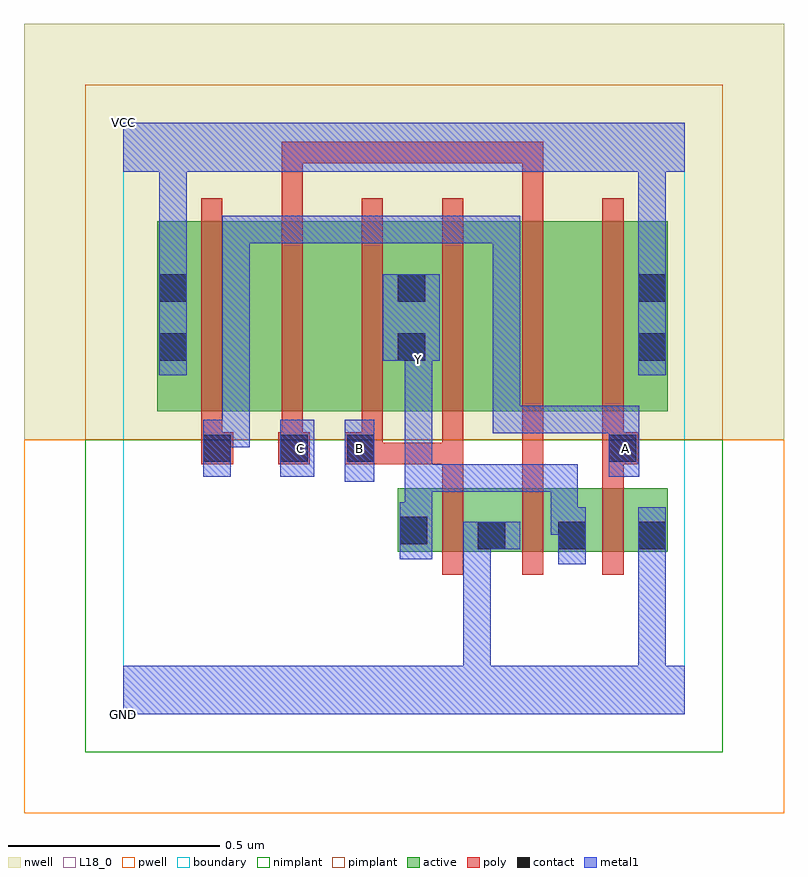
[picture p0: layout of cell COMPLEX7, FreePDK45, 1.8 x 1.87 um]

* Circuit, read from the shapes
.subckt COMPLEX7 A B C GND VCC Y
M1 GND B Y VSUBS nfet w=0.15u l=0.05u
M2 Y C GND VSUBS nfet w=0.15u l=0.05u
M3 GND A Y VSUBS nfet w=0.15u l=0.05u
M4 n1 A VCC n2 pfet w=0.45u l=0.05u
M5 n3 C n1 n2 pfet w=0.45u l=0.05u
M6 Y B n3 n2 pfet w=0.45u l=0.05u
M7 n4 B Y n2 pfet w=0.45u l=0.05u
M8 n5 C n4 n2 pfet w=0.45u l=0.05u
M9 VCC A n5 n2 pfet w=0.45u l=0.05u
.ends

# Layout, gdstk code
import gdstk
lib = gdstk.Library(unit=1e-6, precision=1e-09)
def R(c, l, rs):  # rectangles x0, y0, x1, y1
    for r in rs: c.add(gdstk.rectangle(r[:2], r[2:], *l))
def A(c, l, x, y, w, h, nx, ny, dx, dy):  # array of equal rectangles
    R(c, l, [(x+i*dx, y+j*dy, x+i*dx+w, y+j*dy+h) for i in range(nx) for j in range(ny)])
active = (1, 0)
pwell = (2, 0)
nwell = (3, 0)
nimplant = (4, 0)
pimplant = (5, 0)
poly = (9, 0)
contact = (10, 0)
metal1 = (11, 0)
L18_0 = (18, 0)
boundary = (235, 0)

complex7 = lib.new_cell('COMPLEX7')
R(complex7, active, [(0.65,0.385,0.91,0.535), (0.835,0.385,1.1,0.535), (0.835,0.385,0.91,0.46), (1.025,0.385,1.29,0.535), (1.025,0.385,1.1,0.46), (1.215,0.385,1.29,0.535), (0.65,0.397,0.725,0.535), (0.08,0.717,0.155,1.155), (0.08,0.717,0.305,1.167), (0.305,0.717,0.495,1.167), (0.495,0.717,0.72,1.167), (0.645,0.717,0.875,1.167), (0.875,0.717,1.065,1.167), (1.065,0.717,1.29,1.167), (1.215,0.717,1.29,1.155), (0.645,0.732,0.72,1.07)])
R(complex7, pwell, [(-0.235,-0.235,1.565,0.65)])
R(complex7, nwell, [(-0.235,0.65,1.565,1.635)])
R(complex7, nimplant, [(-0.09,-0.09,1.42,0.65)])
R(complex7, pimplant, [(-0.09,0.65,1.42,1.49)])
A(complex7, poly, 0.755, 0.33, 0.05, 0.26, 3, 1, 0.19, 0)
A(complex7, poly, 0.185, 0.617, 0.05, 0.095, 3, 1, 0.19, 0)
A(complex7, poly, 0.185, 0.662, 0.05, 0.56, 6, 1, 0.19, 0)
R(complex7, poly, [(0.755,0.54,0.805,0.642), (0.945,0.54,0.995,0.667), (1.135,0.54,1.185,0.642), (0.185,0.592,0.26,0.667), (0.367,0.592,0.442,0.667), (0.525,0.592,0.615,0.667), (0.565,0.592,0.615,0.642), (0.565,0.592,0.615,0.642), (0.565,0.592,0.805,0.642), (0.755,0.592,0.805,0.642), (0.755,0.592,0.805,0.712), (1.135,0.592,1.22,0.667), (0.945,0.617,0.995,0.712), (0.945,0.617,0.995,0.667), (1.135,0.617,1.185,0.712), (0.375,1.172,0.425,1.355), (0.945,1.172,0.995,1.355), (0.375,1.305,0.425,1.355), (0.375,1.305,0.425,1.355), (0.375,1.305,0.425,1.355), (0.375,1.305,0.615,1.355), (0.565,1.305,0.615,1.355), (0.565,1.305,0.615,1.355), (0.565,1.305,0.615,1.355), (0.565,1.305,0.747,1.355), (0.697,1.305,0.747,1.355), (0.697,1.305,0.995,1.355), (0.945,1.305,0.995,1.355), (0.945,1.305,0.995,1.355), (0.945,1.305,0.995,1.355)])
A(complex7, contact, 0.84, 0.39, 0.065, 0.065, 3, 1, 0.19, 0)
R(complex7, contact, [(0.655,0.402,0.72,0.467), (0.19,0.597,0.255,0.662), (0.372,0.597,0.437,0.662), (0.53,0.597,0.595,0.662), (1.15,0.597,1.215,0.662), (0.085,0.837,0.15,0.902), (0.65,0.837,0.715,0.902), (1.22,0.837,1.285,0.902), (0.085,0.977,0.15,1.042), (0.65,0.977,0.715,1.042), (1.22,0.977,1.285,1.042)])
R(complex7, metal1, [(0,0,1.33,0.115), (0.805,0.05,0.87,0.455), (1.22,0.05,1.285,0.115), (1.22,0.05,1.285,0.115), (1.22,0.05,1.285,0.115), (1.22,0.05,1.285,0.115), (1.22,0.05,1.285,0.42), (1.03,0.355,1.095,0.49), (1.22,0.355,1.285,0.49), (0.655,0.367,0.732,0.502), (0.805,0.39,0.87,0.455), (0.805,0.39,0.87,0.455), (0.805,0.39,0.87,0.455), (0.805,0.39,0.87,0.455), (0.805,0.39,0.94,0.455), (1.012,0.425,1.095,0.49), (1.012,0.425,1.077,0.592), (0.667,0.437,0.732,0.502), (0.667,0.437,0.732,0.592), (0.667,0.437,0.732,0.837), (0.667,0.527,0.87,0.592), (0.805,0.527,0.87,0.592), (0.805,0.527,1.077,0.592), (0.525,0.55,0.595,0.697), (0.19,0.562,0.255,0.697), (0.372,0.562,0.452,0.697), (1.15,0.562,1.222,0.73), (0.19,0.632,0.3,0.697), (0.235,0.632,0.3,0.697), (0.235,0.632,0.3,1.18), (0.875,0.665,0.94,0.73), (0.875,0.665,1.077,0.73), (0.875,0.665,0.94,1.18), (1.012,0.665,1.077,0.73), (1.012,0.665,1.077,0.73), (1.012,0.665,1.077,0.73), (1.012,0.665,1.215,0.73), (0.667,0.772,0.732,0.907), (0.085,0.802,0.15,1.077), (1.22,0.802,1.285,1.077), (0.615,0.837,0.75,1.042), (0.667,0.842,0.732,0.907), (0.085,1.012,0.15,1.35), (0.085,1.012,0.15,1.077), (0.085,1.012,0.15,1.077), (1.22,1.012,1.285,1.35), (0.235,1.115,0.3,1.18), (0.235,1.115,0.405,1.18), (0.34,1.115,0.405,1.18), (0.34,1.115,0.542,1.18), (0.477,1.115,0.542,1.18), (0.477,1.115,0.542,1.18), (0.477,1.115,0.542,1.18), (0.477,1.115,0.542,1.18), (0.477,1.115,0.542,1.18), (0.477,1.115,0.68,1.18), (0.615,1.115,0.68,1.18), (0.615,1.115,0.94,1.18), (0.875,1.115,0.94,1.18), (0.875,1.115,0.94,1.18), (0.875,1.115,0.94,1.18), (0.875,1.115,0.94,1.18), (0.875,1.115,0.94,1.18), (0,1.285,1.33,1.4), (1.22,1.285,1.285,1.35), (1.22,1.285,1.285,1.35)])
R(complex7, L18_0, [(0,0,1.33,0.115), (0.805,0.05,0.87,0.455), (1.22,0.05,1.285,0.115), (1.22,0.05,1.285,0.115), (1.22,0.05,1.285,0.115), (1.22,0.05,1.285,0.115), (1.22,0.05,1.285,0.42), (1.03,0.355,1.095,0.49), (1.22,0.355,1.285,0.49), (0.655,0.367,0.732,0.502), (0.805,0.39,0.87,0.455), (0.805,0.39,0.87,0.455), (0.805,0.39,0.87,0.455), (0.805,0.39,0.87,0.455), (0.805,0.39,0.94,0.455), (1.012,0.425,1.077,0.592), (1.012,0.425,1.095,0.49), (0.667,0.437,0.732,0.502), (0.667,0.437,0.732,0.837), (0.667,0.437,0.732,0.592), (0.667,0.527,0.87,0.592), (0.805,0.527,0.87,0.592), (0.805,0.527,1.077,0.592), (0.525,0.55,0.595,0.697), (0.19,0.562,0.255,0.697), (0.372,0.562,0.452,0.697), (1.15,0.562,1.222,0.73), (0.387,0.597,0.452,0.662), (0.527,0.597,0.592,0.662), (1.157,0.597,1.222,0.662), (0.19,0.632,0.3,0.697), (0.235,0.632,0.3,0.697), (0.235,0.632,0.3,1.18), (0.875,0.665,0.94,0.73), (0.875,0.665,1.077,0.73), (0.875,0.665,0.94,1.18), (1.012,0.665,1.077,0.73), (1.012,0.665,1.077,0.73), (1.012,0.665,1.077,0.73), (1.012,0.665,1.215,0.73), (0.667,0.772,0.732,0.907), (0.085,0.802,0.15,1.077), (1.22,0.802,1.285,1.077), (0.667,0.807,0.732,0.872), (0.615,0.837,0.75,1.042), (0.667,0.842,0.732,0.907), (0.085,1.012,0.15,1.077), (0.085,1.012,0.15,1.077), (0.085,1.012,0.15,1.35), (1.22,1.012,1.285,1.35), (0.235,1.115,0.3,1.18), (0.235,1.115,0.405,1.18), (0.34,1.115,0.405,1.18), (0.34,1.115,0.542,1.18), (0.477,1.115,0.542,1.18), (0.477,1.115,0.542,1.18), (0.477,1.115,0.542,1.18), (0.477,1.115,0.542,1.18), (0.477,1.115,0.542,1.18), (0.477,1.115,0.68,1.18), (0.615,1.115,0.68,1.18), (0.615,1.115,0.94,1.18), (0.875,1.115,0.94,1.18), (0.875,1.115,0.94,1.18), (0.875,1.115,0.94,1.18), (0.875,1.115,0.94,1.18), (0.875,1.115,0.94,1.18), (0,1.285,1.33,1.4), (1.22,1.285,1.285,1.35), (1.22,1.285,1.285,1.35)])
R(complex7, boundary, [(0,0,1.33,1.4)])
complex7.add(gdstk.Label('A', (1.19,0.63), layer=11, texttype=0))
complex7.add(gdstk.Label('B', (0.56,0.63), layer=11, texttype=0))
complex7.add(gdstk.Label('C', (0.42,0.63), layer=11, texttype=0))
complex7.add(gdstk.Label('Y', (0.7,0.84), layer=11, texttype=0))
complex7.add(gdstk.Label('VCC', (0,1.4), layer=11, texttype=0))
complex7.add(gdstk.Label('GND', (0,0), layer=11, texttype=0))

lib.write_gds('COMPLEX7.gds')
